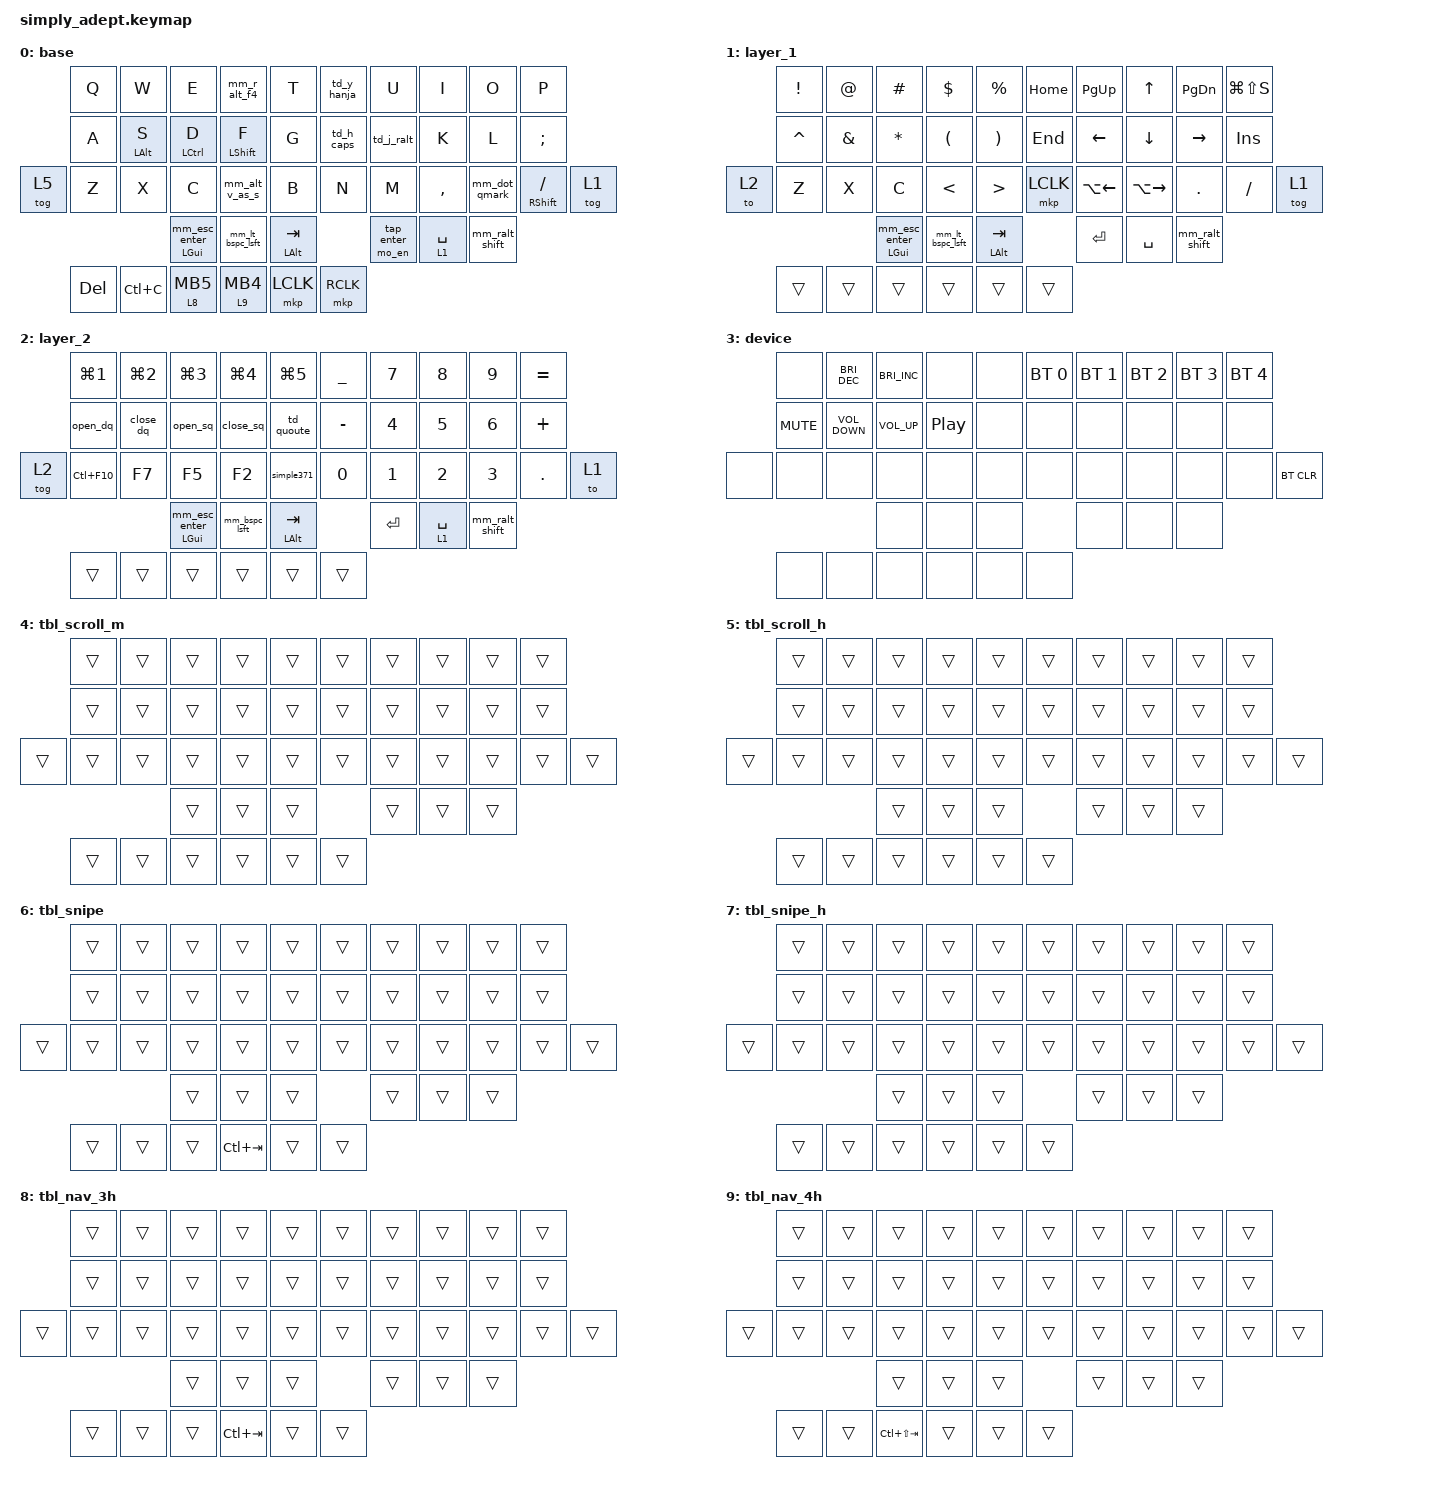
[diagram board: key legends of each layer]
/*
 * Totem keymap — 44 positions
 *   0-37 : keyboard keys (left 0-18, right 19-37, counting by matrix map order)
 *  38-43 : trackball buttons (row 4, cols 0-5)
 */

#include <behaviors.dtsi>
#include <dt-bindings/zmk/bt.h>
#include <dt-bindings/zmk/keys.h>
#include <dt-bindings/zmk/mouse.h>
#include <dt-bindings/zmk/pointing.h>

/ {
    macros {
        simple371: simple371 {
            compatible = "zmk,behavior-macro";
            #binding-cells = <0>;
            bindings = <&kp S &kp I &kp M &kp P &kp L &kp E &kp N3 &kp N7 &kp N1>;
        };

        open_dq: open_dq {
            compatible = "zmk,behavior-macro";
            #binding-cells = <0>;
            wait-ms = <20>;
            tap-ms = <20>;
            bindings =
                <&macro_tap>, <&kp KP_NUM>,
                <&macro_press>, <&kp LALT>,
                <&macro_tap>, <&kp KP_N0 &kp KP_N1 &kp KP_N4 &kp KP_N7>,
                <&macro_release>, <&kp LALT>,
                <&macro_tap>, <&kp KP_NUM>;
        };

        close_dq: close_dq {
            compatible = "zmk,behavior-macro";
            #binding-cells = <0>;
            wait-ms = <20>;
            tap-ms = <20>;
            bindings =
                <&macro_tap>, <&kp KP_NUM>,
                <&macro_press>, <&kp LALT>,
                <&macro_tap>, <&kp KP_N0 &kp KP_N1 &kp KP_N4 &kp KP_N8>,
                <&macro_release>, <&kp LALT>,
                <&macro_tap>, <&kp KP_NUM>;
        };

        open_sq: open_sq {
            compatible = "zmk,behavior-macro";
            #binding-cells = <0>;
            wait-ms = <20>;
            tap-ms = <20>;
            bindings =
                <&macro_tap>, <&kp KP_NUM>,
                <&macro_press>, <&kp LALT>,
                <&macro_tap>, <&kp KP_N0 &kp KP_N1 &kp KP_N4 &kp KP_N5>,
                <&macro_release>, <&kp LALT>,
                <&macro_tap>, <&kp KP_NUM>;
        };

        close_sq: close_sq {
            compatible = "zmk,behavior-macro";
            #binding-cells = <0>;
            wait-ms = <20>;
            tap-ms = <20>;
            bindings =
                <&macro_tap>, <&kp KP_NUM>,
                <&macro_press>, <&kp LALT>,
                <&macro_tap>, <&kp KP_N0 &kp KP_N1 &kp KP_N4 &kp KP_N6>,
                <&macro_release &kp LALT>,
                <&macro_tap &kp KP_NUM>;
        };

        mo_en: mo_en {
            compatible = "zmk,behavior-macro";
            #binding-cells = <0>;
            bindings
                = <&macro_tap &kp RALT>
                , <&macro_pause_for_release>
                , <&macro_tap &kp RALT>;
        };

        tap_enter: tap_enter {
            compatible = "zmk,behavior-macro";
            #binding-cells = <0>;
            bindings = <&kp ENTER>;
        };

    };

    behaviors {
        hm: homerow_mods {
            compatible = "zmk,behavior-hold-tap";
            #binding-cells = <2>;
            tapping-term-ms = <210>;
            quick-tap-ms = <0>;
            flavor = "tap-preferred";
            require-prior-idle-ms = <210>;
            bindings = <&kp>, <&kp>;
        };

        hs: homerow_shift {
            compatible = "zmk,behavior-hold-tap";
            #binding-cells = <2>;
            tapping-term-ms = <195>;
            quick-tap-ms = <80>;
            flavor = "hold-preferred";
            require-prior-idle-ms = <0>;
            bindings = <&kp>, <&kp>;
        };


        mm_r_alt_f4: mod_morph_r_alt_f4 {
            compatible = "zmk,behavior-mod-morph";
            #binding-cells = <0>;
            bindings = <&kp R>, <&kp LA(F4)>;
            mods = <(MOD_LALT)>;
        };

        mm_dot_qmark: mod_morph_dot_qmark {
            compatible = "zmk,behavior-mod-morph";
            #binding-cells = <0>;
            bindings = <&kp DOT>, <&kp FSLH>;
            mods = <(MOD_RSFT)>;
            keep-mods = <(MOD_RSFT)>;
        };

        mm_esc_enter: mod_morph_esc_enter {
            compatible = "zmk,behavior-mod-morph";
            #binding-cells = <0>;
            bindings = <&kp ESC>, <&kp ENTER>;
            mods = <(MOD_LSFT)>;
        };

        mt_lgui_esc: mt_lgui_esc {
            compatible = "zmk,behavior-hold-tap";
            #binding-cells = <2>;
            tapping-term-ms = <200>;
            quick-tap-ms = <0>;
            flavor = "tap-preferred";
            bindings = <&kp>, <&mm_esc_enter>;
        };

        mm_bspc_lsft: mod_morph_bspc_lsft {
            compatible = "zmk,behavior-mod-morph";
            #binding-cells = <0>;
            bindings = <&kp BSPC>, <&kp BSPC>;
            mods = <(MOD_LSFT)>;
        };

        mm_enter_alttab: mod_morph_enter_alttab {
            compatible = "zmk,behavior-mod-morph";
            #binding-cells = <0>;
            bindings = <&mm_bspc_lsft>, <&kp TAB>;
            mods = <(MOD_LALT|MOD_RALT)>;
            keep-mods = <(MOD_LALT|MOD_RALT)>;
        };

        lt_mm: lt_mod_morph {
            compatible = "zmk,behavior-hold-tap";
            #binding-cells = <2>;
            tapping-term-ms = <170>;
            quick-tap-ms = <0>;
            flavor = "tap-preferred";
            bindings = <&mo>, <&mm_enter_alttab>;
        };

        td_h_caps: tap_dance_h_caps {
            compatible = "zmk,behavior-tap-dance";
            #binding-cells = <0>;
            tapping-term-ms = <210>;
            bindings = <&kp H>, <&kp CAPS>;
        };

        td_j_ralt: tap_dance_j_ralt {
            compatible = "zmk,behavior-tap-dance";
            #binding-cells = <0>;
            tapping-term-ms = <210>;
            bindings = <&kp J>, <&kp RALT>;
        };


        td_y_hanja: td_y_hanja {
            compatible = "zmk,behavior-tap-dance";
            #binding-cells = <0>;
            tapping-term-ms = <210>;
            bindings = <&kp Y>, <&kp LANG_HANJA>;
        };



        td_quoute: td_quoute {
            compatible = "zmk,behavior-tap-dance";
            #binding-cells = <0>;
            tapping-term-ms = <210>;
            bindings = <&kp SINGLE_QUOTE>, <&kp DOUBLE_QUOTES>;
        };

        mm_ralt_shift: mod_morph_ralt_shift {
            compatible = "zmk,behavior-mod-morph";
            #binding-cells = <0>;
            bindings = <&kp RALT>, <&kp DEL>;
            mods = <(MOD_LSFT|MOD_RSFT)>;
            keep-mods = <(MOD_LSFT|MOD_RSFT)>;
        };

        hold_mo_en: hold_mo_en {
            compatible = "zmk,behavior-hold-tap";
            #binding-cells = <2>;
            flavor = "hold-preferred";
            tapping-term-ms = <200>;
            bindings = <&mo_en>, <&tap_enter>;
        };

        mm_lt_bspc_lsft: mm_lt_bspc_lsft {
            compatible = "zmk,behavior-mod-morph";
            #binding-cells = <0>;
            bindings = <&lt_mm 2 0>, <&mm_bspc_lsft>;
            mods = <(MOD_LSFT)>;
        };

        mm_alt_v_as_s: mm_alt_v_as_s {
            compatible = "zmk,behavior-mod-morph";
            #binding-cells = <0>;
            bindings = <&kp V>, <&kp S>;
            mods = <(MOD_LALT)>;
            keep-mods = <(MOD_LALT)>;
        };

        lth_kp: layer_tap_hold_kp {
            compatible = "zmk,behavior-hold-tap";
            #binding-cells = <2>;
            flavor = "hold-preferred";
            hold-while-undecided;
            tapping-term-ms = <200>;
            bindings = <&mo>, <&kp>;
        };

        tbl_lth: trackball_layer_tap_hold {
            compatible = "zmk,behavior-hold-tap";
            #binding-cells = <2>;
            flavor = "hold-preferred";
            hold-while-undecided;
            tapping-term-ms = <160>;
            bindings = <&mo>, <&mkp>;
        };

    };

    combos {
        compatible = "zmk,combos";

        combo_uo_haneng {
            timeout-ms = <75>;
            key-positions = <6 8>;
            bindings = <&kp RALT>;
        };

        combo_mcomma_excl {
            timeout-ms = <75>;
            key-positions = <27 28>;
            bindings = <&kp EXCL>;
        };

        combo_commadot_qmark {
            timeout-ms = <75>;
            key-positions = <28 29>;
            bindings = <&kp QMARK>;
        };

        combo_cv_paste {
            timeout-ms = <75>;
            key-positions = <23 24>;
            bindings = <&kp LC(V)>;
        };

        combo_xc_copy {
            timeout-ms = <75>;
            key-positions = <22 23>;
            bindings = <&kp LC(C)>;
        };

        combo_zx_cut {
            timeout-ms = <100>;
            key-positions = <21 22>;
            bindings = <&kp LC(X)>;
        };

        combo_xv_enter {
            timeout-ms = <75>;
            key-positions = <22 24>;
            bindings = <&kp ENTER>;
        };

        combo_nm_tilde {
            timeout-ms = <75>;
            key-positions = <26 27>;
            bindings = <&kp TILDE>;
        };

        combo_mdot_del {
            timeout-ms = <75>;
            key-positions = <27 29>;
            bindings = <&kp DEL>;
        };

        combo_wr_ralt {
            timeout-ms = <75>;
            key-positions = <1 3>;
            bindings = <&kp RALT>;
        };

        combo_we_back {
            timeout-ms = <75>;
            key-positions = <1 2>;
            bindings = <&kp LA(LEFT)>;
        };

        combo_er_forward {
            timeout-ms = <75>;
            key-positions = <2 3>;
            bindings = <&kp LA(RIGHT)>;
        };

        /* Trackball combos */
        combo_tb_close {
            timeout-ms = <50>;
            key-positions = <38 39>;
            bindings = <&kp LA(F4)>;
            layers = <0>;
        };

        combo_tb_close34 {
            timeout-ms = <50>;
            key-positions = <40 41>;
            bindings = <&kp LC(W)>;
            layers = <0>;
        };

        combo_tb_scroll_tog {
            timeout-ms = <50>;
            key-positions = <41 42>;
            bindings = <&tog 5>;
            layers = <0 5>;
        };

        combo_tb_enter {
            timeout-ms = <50>;
            key-positions = <41 43>;
            bindings = <&kp ENTER>;
            layers = <0>;
        };

        combo_tb_bootloader {
            timeout-ms = <50>;
            key-positions = <39 40>;
            bindings = <&bootloader>;
            layers = <0>;
        };

        combo_ble_reset {
            timeout-ms = <150>;
            key-positions = <38 39 40 41>;
            bindings = <&bt BT_CLR>;
            layers = <0>;
        };
    };

    keymap {
        compatible = "zmk,keymap";

        base {
            bindings = <
        &kp Q  &kp W       &kp E         &mm_r_alt_f4   &kp T           &td_y_hanja  &kp U         &kp I            &kp O          &kp P
        &kp A  &hm LALT S  &hm LCTRL D   &hm LSHIFT F   &kp G           &td_h_caps   &td_j_ralt    &kp K            &kp L          &kp SEMI
&tog 5  &kp Z  &kp X       &kp C         &mm_alt_v_as_s &kp B           &kp N        &kp M         &kp COMMA        &mm_dot_qmark  &hs RSHIFT FSLH  &tog 1
                            &mt_lgui_esc LGUI 0  &mm_lt_bspc_lsft  &mt LALT TAB  &hold_mo_en 0 0  &lt 1 SPACE  &mm_ralt_shift
        &kp DEL  &kp LC(C)  &tbl_lth 8 MB5  &tbl_lth 9 MB4  &mkp LCLK  &mkp RCLK
            >;
        };

        layer_1 {
            bindings = <
            &kp EXCL   &kp AT    &kp HASH  &kp DLLR       &kp PRCNT           &kp HOME  &kp PG_UP  &kp UP           &kp PG_DN  &kp LG(LS(S))
            &kp CARET  &kp AMPS  &kp STAR  &kp LPAR       &kp RPAR            &kp END   &kp LEFT   &kp DOWN         &kp RIGHT  &kp INS
&to 2       &kp Z      &kp X     &kp C     &kp LESS_THAN  &kp GREATER_THAN    &mkp LCLK &kp LA(LEFT)  &kp LA(RIGHT)  &kp DOT  &kp FSLH  &tog 1
                                 &mt_lgui_esc LGUI 0  &mm_lt_bspc_lsft  &mt LALT TAB  &kp ENTER  &kp SPACE  &mm_ralt_shift
        &trans  &trans  &trans  &trans  &trans  &trans
            >;
        };

        layer_2 {
            bindings = <
        &kp LG(N1)   &kp LG(N2)  &kp LG(N3)  &kp LG(N4)  &kp LG(N5)   &kp UNDER  &kp N7  &kp N8  &kp N9  &kp EQUAL
        &open_dq     &close_dq   &open_sq    &close_sq   &td_quoute   &kp MINUS  &kp N4  &kp N5  &kp N6  &kp PLUS
&tog 2  &kp LC(F10)  &kp F7      &kp F5      &kp F2      &simple371   &kp N0     &kp N1  &kp N2  &kp N3  &kp DOT  &to 1
                                 &mt_lgui_esc LGUI 0  &mm_bspc_lsft  &mt LALT TAB  &kp ENTER  &lt 1 SPACE  &mm_ralt_shift
        &trans  &trans  &trans  &trans  &trans  &trans
            >;
        };

        device {
            bindings = <
       &none       &kp C_BRIGHTNESS_DEC  &kp C_BRIGHTNESS_INC  &none             &none    &bt BT_SEL 0  &bt BT_SEL 1  &bt BT_SEL 2  &bt BT_SEL 3  &bt BT_SEL 4
       &kp K_MUTE  &kp C_VOLUME_DOWN     &kp C_VOLUME_UP       &kp C_PLAY_PAUSE  &none    &none         &none         &none         &none         &none
&none  &none       &none                 &none                 &none             &none    &none         &none         &none         &none         &none         &bt BT_CLR
                                         &none                 &none             &none    &none         &none         &none
        &none  &none  &none  &none  &none  &none
            >;
        };

        tbl_scroll_m {
            bindings = <
        &trans &trans &trans &trans &trans  &trans &trans &trans &trans &trans
        &trans &trans &trans &trans &trans  &trans &trans &trans &trans &trans
&trans  &trans &trans &trans &trans &trans  &trans &trans &trans &trans &trans  &trans
                      &trans &trans &trans  &trans &trans &trans
        &trans  &trans  &trans  &trans  &trans  &trans
            >;
        };

        tbl_scroll_h {
            bindings = <
        &trans &trans &trans &trans &trans  &trans &trans &trans &trans &trans
        &trans &trans &trans &trans &trans  &trans &trans &trans &trans &trans
&trans  &trans &trans &trans &trans &trans  &trans &trans &trans &trans &trans  &trans
                      &trans &trans &trans  &trans &trans &trans
        &trans  &trans  &trans  &trans  &trans  &trans
            >;
        };

        tbl_snipe {
            bindings = <
        &trans &trans &trans &trans &trans  &trans &trans &trans &trans &trans
        &trans &trans &trans &trans &trans  &trans &trans &trans &trans &trans
&trans  &trans &trans &trans &trans &trans  &trans &trans &trans &trans &trans  &trans
                      &trans &trans &trans  &trans &trans &trans
        &trans  &trans  &trans  &kp LC(TAB)  &trans  &trans
            >;
        };

        tbl_snipe_h {
            bindings = <
        &trans &trans &trans &trans &trans  &trans &trans &trans &trans &trans
        &trans &trans &trans &trans &trans  &trans &trans &trans &trans &trans
&trans  &trans &trans &trans &trans &trans  &trans &trans &trans &trans &trans  &trans
                      &trans &trans &trans  &trans &trans &trans
        &trans  &trans  &trans  &trans  &trans  &trans
            >;
        };

        tbl_nav_3h {
            bindings = <
        &trans &trans &trans &trans &trans  &trans &trans &trans &trans &trans
        &trans &trans &trans &trans &trans  &trans &trans &trans &trans &trans
&trans  &trans &trans &trans &trans &trans  &trans &trans &trans &trans &trans  &trans
                      &trans &trans &trans  &trans &trans &trans
        &trans  &trans  &trans  &kp LC(TAB)  &trans  &trans
            >;
        };

        tbl_nav_4h {
            bindings = <
        &trans &trans &trans &trans &trans  &trans &trans &trans &trans &trans
        &trans &trans &trans &trans &trans  &trans &trans &trans &trans &trans
&trans  &trans &trans &trans &trans &trans  &trans &trans &trans &trans &trans  &trans
                      &trans &trans &trans  &trans &trans &trans
        &trans  &trans  &kp LC(LS(TAB))  &trans  &trans  &trans
            >;
        };
    };

};
